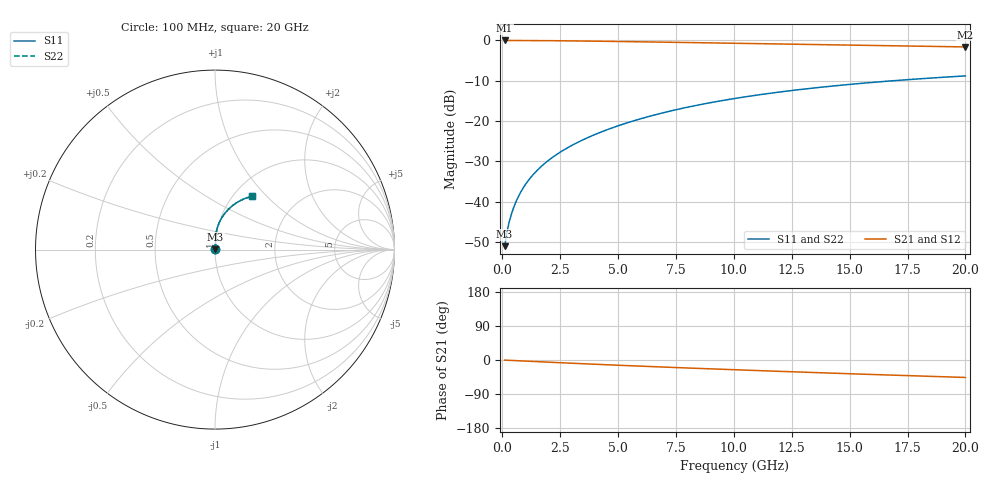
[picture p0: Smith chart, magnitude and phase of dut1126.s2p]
! Touchstone file exported from HFSS 2024.1.0
!  File:  C:/UserFiles/LocalFiles/RDL_TSV_Batchsim/temp_RDL_bottom_1126_1780055074.aedt
!  Generated:  07:46:33 PM May 29, 2026
!  Design:  RDL_bottom
!  Project:  temp_RDL_bottom_1126_1780055074
!  Setup:  Setup1
!  Solution:  Sweep
! Variables:
!  dtsv = 10.80580581um
!  hbump = 3um
!  htsv = 60.8um
!  ldown = 691.86um
!  lrdl = 100um
!  p = 40
!  p1 = 53.12um
!  rhole = 1um
!  t = 450um
!  tdown = 4.91um
!  trdl = 3.915915916um
!  wdown = 25.62um
!  wrdl = 20um
# GHz S MA R 50.000000
! Terminal data exported
! Port[1] = RDL1_T1
! Port[2] = RDL1_T2
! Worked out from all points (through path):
!   200 points, 100 MHz to 20 GHz, reference 50 ohm
!   highest |S21| = -0.02 dB at 100 MHz (marker M1); lowest = -1.6 dB at 20 GHz (marker M2)
!   group delay of S21, straight-line fit = 6.31 ps
!   lowest |S11| = -51.0 dB at 100 MHz (marker M3), VSWR 1.01, Z = 50.2 + j0.184 ohm
!   |S11| at or under -10 dB: start of sweep to 16.87 GHz
!   |S22| runs from -51.0 to -8.8 dB; largest |S21 - S12| = 1.7e-14
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0.1  0.002822 40.4  0.9978 -0.3  0.9978 -0.3  0.002822 40.4
! Gamma 0 0 0 0
! Port Impedance 50 0 50 0
0.2  0.004207 56.6  0.9976 -0.6  0.9976 -0.6  0.004207 56.6
0.3  0.005658 64.4  0.9974 -0.9  0.9974 -0.9  0.005658 64.4
0.4  0.007132 69.4  0.9972 -1.2  0.9972 -1.2  0.007132 69.4
0.5  0.00863 72.8  0.9971 -1.5  0.9971 -1.5  0.00863 72.8
0.6  0.01015 75.3  0.9969 -1.8  0.9969 -1.8  0.01015 75.3
0.8  0.01325 78.7  0.9964 -2.3  0.9964 -2.3  0.01325 78.7
1.1  0.01799 81.8  0.9956 -3.2  0.9956 -3.2  0.01799 81.8
1.5  0.02445 84.0  0.9941 -4.4  0.9941 -4.4  0.02445 84.0
1.8  0.02938 85.1  0.9928 -5.2  0.9928 -5.2  0.02938 85.1
2.1  0.03439 85.8  0.9912 -6.1  0.9912 -6.1  0.0344 85.8
2.7  0.04467 86.7  0.9876 -7.7  0.9876 -7.7  0.04468 86.7
3.5  0.05894 87.1  0.9818 -9.9  0.9818 -9.9  0.05896 87.1
4.2  0.07197 86.9  0.9761 -11.8  0.9761 -11.8  0.07199 86.9
5  0.08742 86.3  0.9691 -13.8  0.9691 -13.8  0.08744 86.3
6.8  0.1238 83.7  0.9524 -18.3  0.9524 -18.3  0.1238 83.7
8.4  0.157 80.6  0.937 -22.0  0.937 -22.0  0.157 80.6
10.1  0.1919 76.8  0.9207 -25.9  0.9207 -25.9  0.192 76.8
11.7  0.2238 73.1  0.9055 -29.4  0.9055 -29.4  0.2239 73.1
13.4  0.2562 69.2  0.8896 -33.0  0.8896 -33.0  0.2563 69.2
16.7  0.3134 61.8  0.8591 -39.7  0.8591 -39.7  0.3135 61.8
20  0.3628 55.0  0.8297 -46.0  0.8297 -46.0  0.3629 55.0
